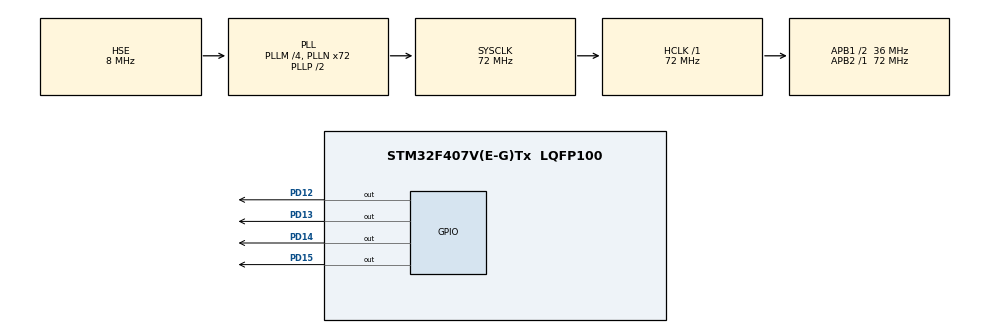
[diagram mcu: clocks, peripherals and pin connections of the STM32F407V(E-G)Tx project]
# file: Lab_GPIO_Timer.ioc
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Mcu.Family=STM32F4
Mcu.Name=STM32F407V(E-G)Tx
Mcu.Package=LQFP100
NVIC.PriorityGroup=NVIC_PRIORITYGROUP_4
NVIC.TIM2_IRQn=true\:0\:0\:false\:false\:true\:true\:true
PD12.GPIO_Speed=GPIO_SPEED_FREQ_VERY_HIGH
PD12.Signal=GPIO_Output
PD13.GPIO_Speed=GPIO_SPEED_FREQ_VERY_HIGH
PD13.Signal=GPIO_Output
PD14.GPIO_Speed=GPIO_SPEED_FREQ_VERY_HIGH
PD14.Signal=GPIO_Output
PD15.GPIO_Speed=GPIO_SPEED_FREQ_VERY_HIGH
PD15.Signal=GPIO_Output
PH0-OSC_IN.Mode=HSE-External-Oscillator
PH0-OSC_IN.Signal=RCC_OSC_IN
PH1-OSC_OUT.Mode=HSE-External-Oscillator
PH1-OSC_OUT.Signal=RCC_OSC_OUT
ProjectManager.HeapSize=0x200
ProjectManager.StackSize=0x400
ProjectManager.TargetToolchain=Makefile
RCC.48MHZClocksFreq_Value=36000000
RCC.AHBFreq_Value=72000000
RCC.APB1CLKDivider=RCC_HCLK_DIV2
RCC.APB1Freq_Value=36000000
RCC.APB1TimFreq_Value=72000000
RCC.APB2Freq_Value=72000000
RCC.APB2TimFreq_Value=72000000
RCC.CortexFreq_Value=72000000
RCC.HCLKFreq_Value=72000000
RCC.HSE_VALUE=8000000
RCC.HSI_VALUE=16000000
RCC.LSE_VALUE=32768
RCC.PLLM=4
RCC.PLLN=72
RCC.PLLSourceVirtual=RCC_PLLSOURCE_HSE
RCC.SYSCLKFreq_VALUE=72000000
RCC.SYSCLKSource=RCC_SYSCLKSOURCE_PLLCLK
RCC.VCOOutputFreq_Value=144000000
TIM2.Period=35999
TIM2.Prescaler=1
VP_TIM2_VS_ClockSourceINT.Mode=Internal
board=custom

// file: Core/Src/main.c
/* USER CODE BEGIN Header */
/**
  ******************************************************************************
  * @file           : main.c
  * @brief          : Main program body
  ******************************************************************************
  * @attention
  *
  * Copyright (c) 2021 STMicroelectronics.
  * All rights reserved.
  *
  * This software is licensed under terms that can be found in the LICENSE file
  * in the root directory of this software component.
  * If no LICENSE file comes with this software, it is provided AS-IS.
  *
  ******************************************************************************
  */
/* USER CODE END Header */
#include "main.h"
#include "tim.h"
#include "gpio.h"

void SystemClock_Config(void);

/* USER CODE BEGIN 0 */

int main(void) {
  int i;

  HAL_Init();
  SystemClock_Config();
  MX_TIM2_Init();
  HAL_TIM_Base_Start_IT(&htim2);
  MX_GPIO_Init();

  while (1) {
    for(i=0; i<1000000; i++);

    timer2_wait_millisec(DELAY_MS);
    gpio_led_state(LED3_ORANGE_ID, 1); // turn on
    gpio_led_state(LED4_GREEN_ID, 1); // turn on
    gpio_led_state(LED5_RED_ID, 0); // turn off
    gpio_led_state(LED6_BLUE_ID, 0); // turn off

    timer2_wait_millisec(DELAY_MS);
    for(i=0; i<1000000; i++);
    gpio_led_state(LED3_ORANGE_ID, 0); // turn off
    gpio_led_state(LED4_GREEN_ID, 0); // turn off
    gpio_led_state(LED5_RED_ID, 1); // turn on
    gpio_led_state(LED6_BLUE_ID, 1); // turn on
  }

}

/* USER CODE END 0 */

void SystemClock_Config(void)
{
  RCC_OscInitTypeDef RCC_OscInitStruct = {0};
  RCC_ClkInitTypeDef RCC_ClkInitStruct = {0};

  /** Configure the main internal regulator output voltage
  */
  __HAL_RCC_PWR_CLK_ENABLE();
  __HAL_PWR_VOLTAGESCALING_CONFIG(PWR_REGULATOR_VOLTAGE_SCALE1);
  /** Initializes the RCC Oscillators according to the specified parameters
  * in the RCC_OscInitTypeDef structure.
  */
  RCC_OscInitStruct.OscillatorType = RCC_OSCILLATORTYPE_HSE;
  RCC_OscInitStruct.HSEState = RCC_HSE_ON;
  RCC_OscInitStruct.PLL.PLLState = RCC_PLL_ON;
  RCC_OscInitStruct.PLL.PLLSource = RCC_PLLSOURCE_HSE;
  RCC_OscInitStruct.PLL.PLLM = 4;
  RCC_OscInitStruct.PLL.PLLN = 72;
  RCC_OscInitStruct.PLL.PLLP = RCC_PLLP_DIV2;
  RCC_OscInitStruct.PLL.PLLQ = 4;
  if (HAL_RCC_OscConfig(&RCC_OscInitStruct) != HAL_OK)
  {
    Error_Handler();
  }
  /** Initializes the CPU, AHB and APB buses clocks
  */
  RCC_ClkInitStruct.ClockType = RCC_CLOCKTYPE_HCLK|RCC_CLOCKTYPE_SYSCLK
                              |RCC_CLOCKTYPE_PCLK1|RCC_CLOCKTYPE_PCLK2;
  RCC_ClkInitStruct.SYSCLKSource = RCC_SYSCLKSOURCE_PLLCLK;
  RCC_ClkInitStruct.AHBCLKDivider = RCC_SYSCLK_DIV1;
  RCC_ClkInitStruct.APB1CLKDivider = RCC_HCLK_DIV2;
  RCC_ClkInitStruct.APB2CLKDivider = RCC_HCLK_DIV1;

  if (HAL_RCC_ClockConfig(&RCC_ClkInitStruct, FLASH_LATENCY_2) != HAL_OK)
  {
    Error_Handler();
  }
}

void Error_Handler(void)
{
  __disable_irq();
  while (1)
  {
  }
}
